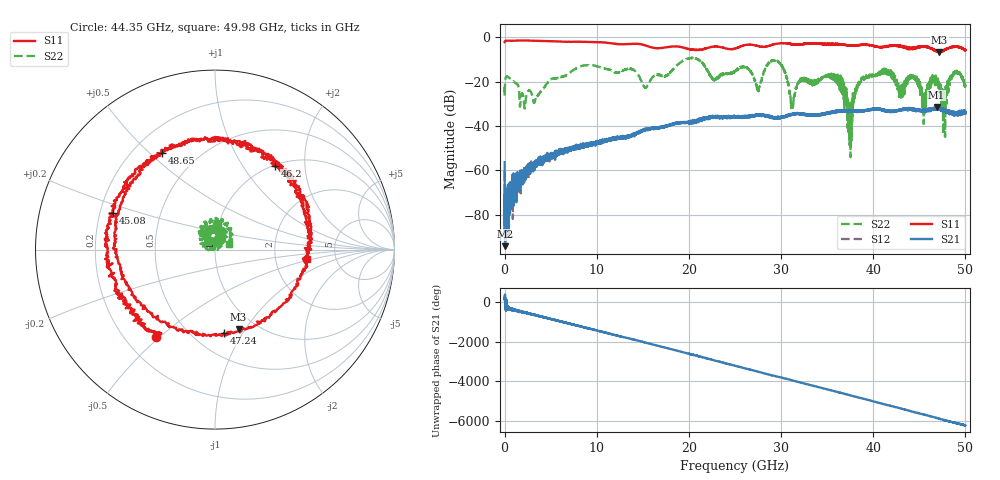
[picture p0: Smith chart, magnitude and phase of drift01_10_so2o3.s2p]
!Created with skrf (http://scikit-rf.org).
# Hz S RI R 50.0
!freq ReS11 ImS11 ReS21 ImS21 ReS12 ImS12 ReS22 ImS22
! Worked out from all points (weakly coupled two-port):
!   10001 points, 300 kHz to 50 GHz, reference 50 ohm
!   highest |S21| = -31.46 dB at 46.87 GHz (marker M1); lowest = -94.3 dB at 55.3 MHz (marker M2)
!   lowest |S11| = -6.7 dB at 47.17 GHz (marker M3), VSWR 2.73, Z = 41.3 - j46.7 ohm
!   |S11| at or under -10 dB: nowhere
!   |S22| runs from -54.0 to -9.2 dB; largest |S21 - S12| = 0.0042
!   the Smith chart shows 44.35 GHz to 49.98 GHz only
!   S11 on the Smith chart (normalised r, x): 44.35 GHz: 0.33, -0.49; 45.08 GHz: 0.25, +0.16; 46.2 GHz: 1.02, +1.41; 47.24 GHz: 0.70, -0.83; 48.65 GHz: 0.32, +0.55; 49.98 GHz: 3.08, -0.43
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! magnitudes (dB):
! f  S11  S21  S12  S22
! 300 kHz  -2.1  -56.4  -60.6  -22.3
! 55.3 MHz  -1.6  -94.3  -82.0  -20.0
! 3.29 GHz  -1.5  -58.5  -57.6  -28.8
! 8.335 GHz  -1.9  -49.1  -49.2  -12.9
! 16.67 GHz  -4.9  -40.7  -40.9  -16.7
! 25 GHz  -5.0  -36.0  -36.0  -15.3
! 29.59 GHz  -2.8  -36.3  -36.4  -10.6
! 31.23 GHz  -3.1  -34.7  -34.6  -31.1
! 33.34 GHz  -2.6  -35.1  -35.1  -20.2
! 36.08 GHz  -3.0  -33.4  -33.6  -17.8
! 37.47 GHz  -3.6  -33.1  -33.2  -34.5
! 38.66 GHz  -3.4  -33.5  -33.1  -20.2
! 41.67 GHz  -3.9  -33.3  -33.1  -15.0
! 44.35 GHz  -4.6  -32.4  -32.4  -16.9
! 45.08 GHz  -4.4  -33.0  -32.7  -21.9
! 46.2 GHz  -4.8  -32.8  -32.5  -22.8
! 46.87 GHz  -6.1  -31.5  -32.6  -21.3
! 47.17 GHz  -6.7  -31.8  -32.5  -20.5
! 47.24 GHz  -6.6  -32.1  -32.4  -26.9
! 48.65 GHz  -4.2  -34.6  -34.2  -17.5
! 49.98 GHz  -5.7  -33.4  -33.6  -21.8
! 50 GHz  -5.7  -34.2  -33.3  -22.0
